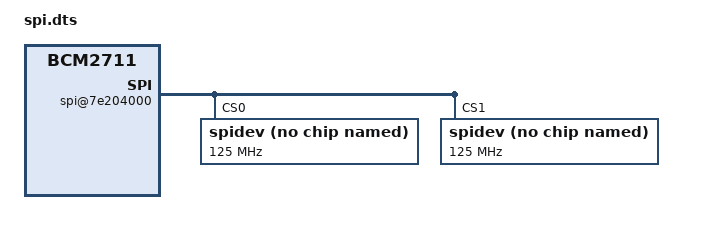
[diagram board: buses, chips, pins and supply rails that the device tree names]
/dts-v1/;
/plugin/;

/ {
    compatible = "brcm,bcm2711";
    fragment@0 {
        target-path = "/soc/spi@7e204000";
        __overlay__ {
            status = "okay";
            #address-cells = < 0x01 >;
            #size-cells = < 0x00 >;
            /*
             * The DT in RPi does not support &{/soc/dma@7e007000} format yet,
             * so take its phandle manually and hope it won't change...
             */
            dmas = <0x1b 6>, <0x1b 7>;
            dma-names = "tx", "rx";


            spidev@0 {
                    /*
                    * It used to be "spidev" but Linux maintainers don't like
                    * it, so use some other name (which has very little to do
                    * with reality...).
                    * See 956b200a846e324322f6211034c734c65a38e550 in Linux
                    */
                    compatible = "rohm,dh2228fv";
                    reg = < 0x00 >;
                    spi-max-frequency = < 0x7735940 >;
                    phandle = < 0x6a >;
            };

            spidev@1 {
                    compatible = "rohm,dh2228fv";
                    reg = < 0x01 >;
                    spi-max-frequency = < 0x7735940 >;
                    phandle = < 0x6b >;
            };
        };
    };
};
